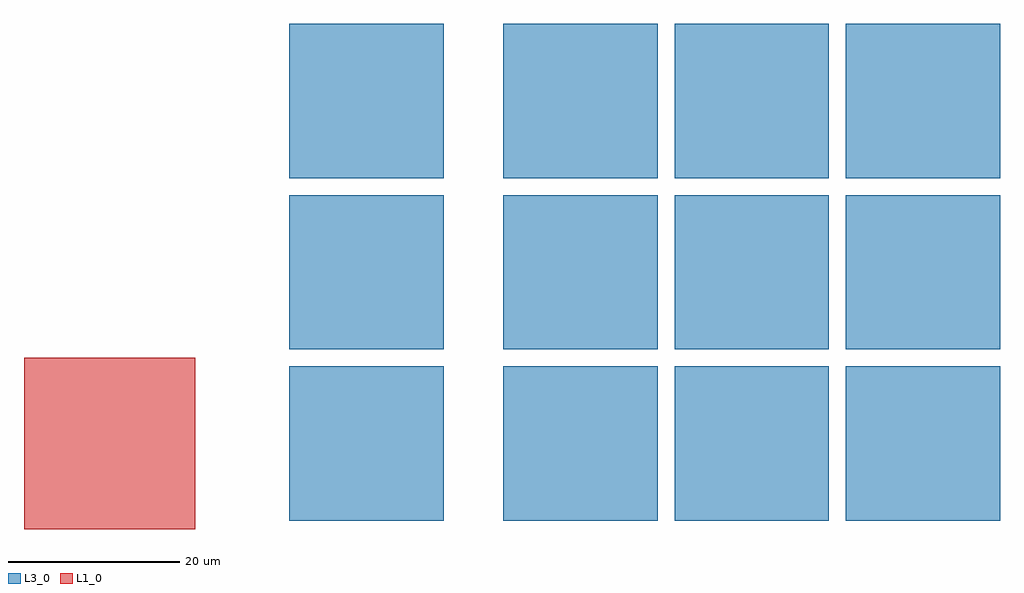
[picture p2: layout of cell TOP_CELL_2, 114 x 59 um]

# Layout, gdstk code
import gdstk
lib = gdstk.Library(unit=1e-6, precision=1e-09)
def R(c, l, rs):  # rectangles x0, y0, x1, y1
    for r in rs: c.add(gdstk.rectangle(r[:2], r[2:], *l))
L1_0 = (1, 0)
L3_0 = (3, 0)

child_cell_2_1 = lib.new_cell('CHILD_CELL_2_1')
R(child_cell_2_1, L3_0, [(-8,-8,8,8)])

child_cell_2 = lib.new_cell('CHILD_CELL_2')
R(child_cell_2, L3_0, [(-9,-9,9,9)])
child_cell_2.add(gdstk.Reference(child_cell_2_1, (0,0)))

top_cell_2 = lib.new_cell('TOP_CELL_2')
R(top_cell_2, L1_0, [(-10,-10,10,10)])
top_cell_2.add(gdstk.Reference(child_cell_2, (30,0)))
r = gdstk.Reference(child_cell_2, (55,0)); r.repetition = gdstk.Repetition(3, 3, v1=(20,0), v2=(0,20)); top_cell_2.add(r)
top_cell_2.add(gdstk.Reference(child_cell_2, (30,20)))
top_cell_2.add(gdstk.Reference(child_cell_2, (30,40)))

lib.write_gds('TOP_CELL_2.gds')
